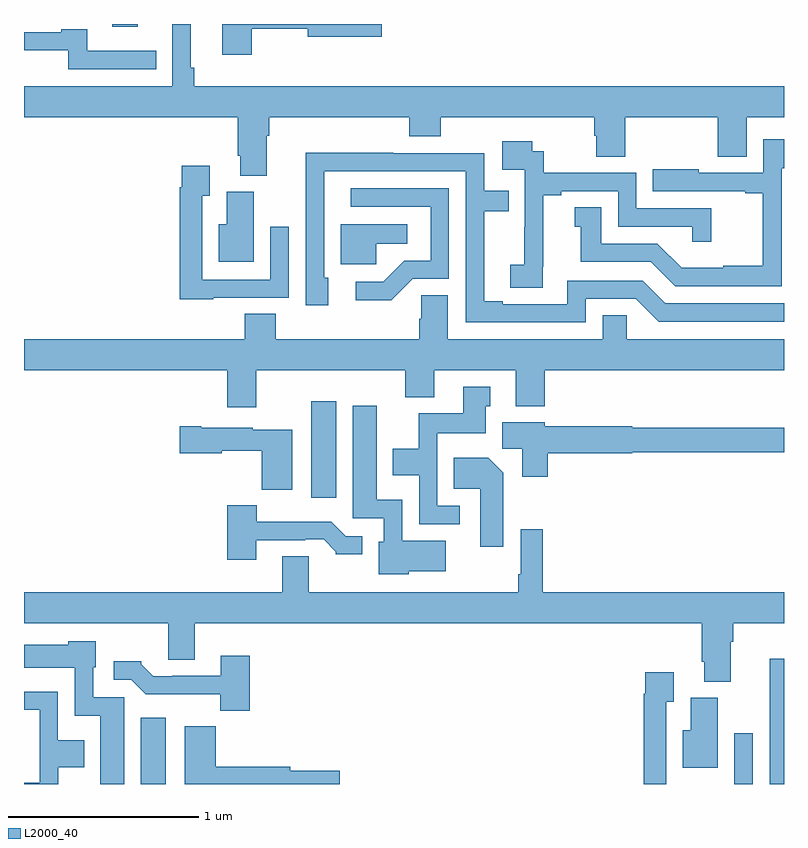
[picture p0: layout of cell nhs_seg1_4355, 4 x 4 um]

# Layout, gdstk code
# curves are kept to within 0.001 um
import gdstk
lib = gdstk.Library(unit=1e-6, precision=1e-09)
def R(c, l, rs):  # rectangles x0, y0, x1, y1
    for r in rs: c.add(gdstk.rectangle(r[:2], r[2:], *l))
def P(c, l, *ps):  # polygons
    for p in ps: c.add(gdstk.Polygon(p, *l))
L2000_40 = (2000, 40)

nhs_seg1_4355 = lib.new_cell('nhs_seg1_4355')
R(nhs_seg1_4355, L2000_40, [(347.615,572.199,347.746,572.548), (350.739,572.199,350.835,572.467), (348.512,573.705,348.643,574.213), (347.465,576.185,347.599,576.199)])
P(nhs_seg1_4355, L2000_40, [(348.198,576.174),(348.494,576.174),(348.494,576.131),(348.883,576.131),(348.883,576.199),(348.044,576.199),(348.044,576.036),(348.198,576.036)],
  [(348.277,575.612),(348.29,575.612),(348.29,575.708),(349.028,575.708),(349.028,575.609),(349.193,575.609),(349.193,575.708),(350,575.708),(350,575.61),(350.012,575.61),(350.012,575.5),(350.165,575.5),(350.165,575.708),(350.651,575.708),(350.651,575.5),(350.803,575.5),(350.803,575.708),(351,575.708),(351,575.872),(347.897,575.872),(347.897,575.968),(347.878,575.968),(347.878,576.199),(347.781,576.199),(347.781,575.872),(347,575.872),(347,575.708),(348.125,575.708),(348.125,575.506),(348.137,575.506),(348.137,575.401),(348.277,575.401)],
  [(347.696,576.057),(347.332,576.057),(347.332,576.172),(347.196,576.172),(347.196,576.156),(347,576.156),(347,576.06),(347.233,576.06),(347.233,575.961),(347.696,575.961)],
  [(350.988,575.441),(351,575.441),(351,575.593),(350.892,575.593),(350.892,575.415),(350.551,575.415),(350.551,575.434),(350.308,575.434),(350.308,575.319),(350.795,575.319),(350.795,575.307),(350.887,575.307),(350.887,574.927),(350.681,574.927),(350.681,574.915),(350.462,574.915),(350.334,575.043),(350.038,575.043),(350.038,575.234),(349.898,575.234),(349.898,575.131),(349.931,575.131),(349.931,574.947),(350.298,574.947),(350.427,574.818),(350.988,574.818)],
  [(349.73,574.921),(349.732,574.921),(349.732,575.299),(349.828,575.299),(349.828,575.319),(350.127,575.319),(350.127,575.133),(350.517,575.133),(350.517,575.052),(350.618,575.052),(350.618,575.229),(350.223,575.229),(350.223,575.415),(349.736,575.415),(349.736,575.529),(349.674,575.529),(349.674,575.581),(349.518,575.581),(349.518,575.433),(349.635,575.433),(349.635,575.129),(349.634,575.129),(349.634,574.932),(349.56,574.932),(349.56,574.81),(349.73,574.81)],
  [(349.956,574.752),(350.22,574.752),(350.34,574.632),(351,574.632),(351,574.728),(350.376,574.728),(350.256,574.848),(349.86,574.848),(349.86,574.725),(349.519,574.725),(349.519,574.74),(349.423,574.74),(349.423,575.214),(349.55,575.214),(349.55,575.322),(349.422,575.322),(349.422,575.52),(348.944,575.52),(348.944,575.522),(348.482,575.522),(348.483,574.719),(348.601,574.719),(348.601,574.863),(348.579,574.863),(348.579,575.424),(349.326,575.424),(349.326,574.629),(349.956,574.629)],
  [(347.997,574.758),(348.393,574.758),(348.393,575.131),(348.297,575.131),(348.297,574.854),(347.937,574.854),(347.937,575.296),(347.977,575.296),(347.977,575.452),(347.829,575.452),(347.829,575.339),(347.821,575.339),(347.821,574.751),(347.997,574.751)],
  [(349.047,574.857),(349.236,574.857),(349.236,575.334),(348.72,575.334),(348.72,575.238),(349.14,575.238),(349.14,574.953),(349.002,574.953),(348.891,574.842),(348.747,574.842),(348.747,574.745),(348.934,574.745)],
  [(348.208,575.316),(348.068,575.316),(348.068,575.146),(348.026,575.146),(348.026,574.949),(348.208,574.949)],
  [(348.855,575.042),(349.018,575.042),(349.018,575.146),(348.668,575.146),(348.668,574.935),(348.855,574.935)],
  [(348.223,574.376),(349.007,574.376),(349.007,574.235),(349.159,574.235),(349.159,574.376),(349.589,574.376),(349.589,574.187),(349.742,574.187),(349.742,574.376),(351,574.376),(351,574.54),(350.172,574.54),(350.172,574.667),(350.045,574.667),(350.045,574.54),(349.231,574.54),(349.231,574.772),(349.092,574.772),(349.092,574.649),(349.079,574.649),(349.079,574.54),(348.326,574.54),(348.326,574.673),(348.161,574.673),(348.161,574.54),(347,574.54),(347,574.376),(348.071,574.376),(348.071,574.182),(348.223,574.182)],
  [(349.294,573.663),(349.176,573.663),(349.176,574.046),(349.429,574.046),(349.429,574.188),(349.453,574.188),(349.453,574.291),(349.313,574.291),(349.313,574.15),(349.078,574.15),(349.078,573.964),(348.941,573.964),(348.941,573.824),(349.08,573.824),(349.08,573.567),(349.294,573.567)],
  [(349.026,573.32),(349.219,573.32),(349.219,573.478),(348.99,573.478),(348.99,573.694),(348.856,573.694),(348.856,574.189),(348.731,574.189),(348.731,573.597),(348.894,573.597),(348.894,573.474),(348.866,573.474),(348.866,573.302),(349.026,573.302)],
  [(349.757,573.941),(350.202,573.941),(350.202,573.946),(351,573.946),(351,574.075),(350.202,574.075),(350.202,574.083),(349.74,574.083),(349.74,574.102),(349.517,574.102),(349.517,573.964),(349.622,573.964),(349.622,573.816),(349.757,573.816)],
  [(348.412,574.063),(348.204,574.063),(348.204,574.075),(347.932,574.075),(347.932,574.083),(347.82,574.083),(347.82,573.941),(348.042,573.941),(348.042,573.953),(348.25,573.953),(348.25,573.749),(348.412,573.749)],
  [(349.522,573.838),(349.444,573.916),(349.261,573.916),(349.261,573.752),(349.4,573.752),(349.4,573.447),(349.522,573.447)],
  [(348.223,573.483),(348.479,573.483),(348.479,573.486),(348.578,573.486),(348.642,573.422),(348.642,573.407),(348.781,573.407),(348.781,573.504),(348.693,573.504),(348.617,573.58),(348.226,573.58),(348.226,573.667),(348.071,573.667),(348.071,573.378),(348.223,573.378)],
  [(350.719,572.948),(350.732,572.948),(350.732,573.044),(351,573.044),(351,573.208),(349.73,573.208),(349.73,573.541),(349.614,573.541),(349.614,573.304),(349.602,573.304),(349.602,573.208),(348.499,573.208),(348.499,573.398),(348.359,573.398),(348.359,573.208),(347,573.208),(347,573.044),(347.759,573.044),(347.759,572.854),(347.899,572.854),(347.899,573.044),(350.567,573.044),(350.567,572.842),(350.579,572.842),(350.579,572.737),(350.719,572.737)],
  [(347.527,572.655),(347.364,572.655),(347.364,572.814),(347.377,572.814),(347.377,572.95),(347.232,572.95),(347.232,572.932),(347,572.932),(347,572.81),(347.268,572.81),(347.268,572.558),(347.402,572.558),(347.402,572.199),(347.527,572.199)],
  [(348.188,572.875),(348.035,572.875),(348.035,572.769),(347.779,572.769),(347.779,572.766),(347.68,572.766),(347.616,572.83),(347.616,572.845),(347.472,572.845),(347.472,572.748),(347.565,572.748),(347.641,572.672),(348.033,572.672),(348.033,572.585),(348.188,572.585)],
  [(351,572.858),(350.924,572.858),(350.924,572.554),(350.925,572.554),(350.925,572.199),(351,572.199)],
  [(350.379,572.632),(350.419,572.632),(350.419,572.788),(350.271,572.788),(350.271,572.675),(350.263,572.675),(350.263,572.199),(350.379,572.199)],
  [(347.181,572.288),(347.317,572.288),(347.317,572.428),(347.178,572.428),(347.178,572.685),(347,572.685),(347,572.589),(347.082,572.589),(347.082,572.206),(347,572.206),(347,572.199),(347.181,572.199)],
  [(350.65,572.652),(350.51,572.652),(350.51,572.482),(350.468,572.482),(350.468,572.285),(350.65,572.285)],
  [(348.661,572.27),(348.4,572.27),(348.4,572.291),(348.008,572.291),(348.008,572.503),(347.846,572.503),(347.846,572.199),(348.661,572.199)])

lib.write_gds('nhs_seg1_4355.gds')
